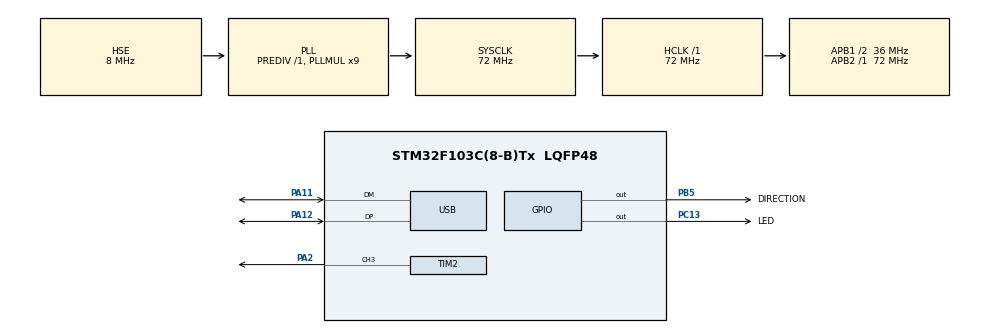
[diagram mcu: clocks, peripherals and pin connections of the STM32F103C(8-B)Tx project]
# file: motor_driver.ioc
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Mcu.Family=STM32F1
Mcu.Name=STM32F103C(8-B)Tx
Mcu.Package=LQFP48
NVIC.PriorityGroup=NVIC_PRIORITYGROUP_4
NVIC.TIM2_IRQn=true\:0\:0\:false\:false\:true\:true\:true\:true
NVIC.USB_LP_CAN1_RX0_IRQn=true\:0\:0\:false\:false\:true\:false\:true\:true
PA11.Mode=Device
PA11.Signal=USB_DM
PA12.Mode=Device
PA12.Signal=USB_DP
PA13.Mode=Serial_Wire
PA13.Signal=SYS_JTMS-SWDIO
PA14.Mode=Serial_Wire
PA14.Signal=SYS_JTCK-SWCLK
PA2.Signal=S_TIM2_CH3
PB5.GPIO_Label=DIRECTION
PB5.Signal=GPIO_Output
PC13-TAMPER-RTC.GPIO_Label=LED
PC13-TAMPER-RTC.Signal=GPIO_Output
PD0-OSC_IN.Mode=HSE-External-Oscillator
PD0-OSC_IN.Signal=RCC_OSC_IN
PD1-OSC_OUT.Mode=HSE-External-Oscillator
PD1-OSC_OUT.Signal=RCC_OSC_OUT
ProjectManager.HeapSize=0x200
ProjectManager.StackSize=0x400
ProjectManager.TargetToolchain=STM32CubeIDE
RCC.AHBFreq_Value=72000000
RCC.APB1CLKDivider=RCC_HCLK_DIV2
RCC.APB1Freq_Value=36000000
RCC.APB1TimFreq_Value=72000000
RCC.APB2Freq_Value=72000000
RCC.APB2TimFreq_Value=72000000
RCC.HCLKFreq_Value=72000000
RCC.PLLMUL=RCC_PLL_MUL9
RCC.SYSCLKFreq_VALUE=72000000
RCC.SYSCLKSource=RCC_SYSCLKSOURCE_PLLCLK
RCC.USBFreq_Value=48000000
RCC.USBPrescaler=RCC_USBCLKSOURCE_PLL_DIV1_5
SH.S_TIM2_CH3.0=TIM2_CH3,PWM Generation3 CH3
TIM2.Channel-PWM\ Generation3\ CH3=TIM_CHANNEL_3
TIM2.Period=360-1
TIM2.Prescaler=72-1
USB_DEVICE.CLASS_NAME_FS=CDC
USB_DEVICE.VirtualMode=Cdc
USB_DEVICE.VirtualModeFS=Cdc_FS
VP_USB_DEVICE_VS_USB_DEVICE_CDC_FS.Mode=CDC_FS
board=custom

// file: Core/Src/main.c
/* USER CODE BEGIN Header */
/**
  ******************************************************************************
  * @file           : main.c
  * @brief          : Main program body
  ******************************************************************************
  * @attention
  *
  * Copyright (c) 2024 STMicroelectronics.
  * All rights reserved.
  *
  * This software is licensed under terms that can be found in the LICENSE file
  * in the root directory of this software component.
  * If no LICENSE file comes with this software, it is provided AS-IS.
  *
  ******************************************************************************
  */
/* USER CODE END Header */
#include "main.h"
#include "usb_device.h"

/* USER CODE BEGIN Includes */
#include "usbd_cdc_if.h"
/* USER CODE END Includes */

TIM_HandleTypeDef htim2;

/* USER CODE BEGIN PV */
uint8_t receivedDataBuf[64];
uint8_t receiveDataFlag = 0;

volatile uint8_t motorStopFlag = 0;

volatile uint16_t speed = 6400;
float timeRotation = 1.0;

volatile float stepsRemaining = 0.0;

volatile uint8_t infiniteRotationFlag = 0;
volatile uint8_t timeRotationFlag = 0;

/* USER CODE END PV */

void SystemClock_Config(void);
static void MX_GPIO_Init(void);
static void MX_TIM2_Init(void);
/* USER CODE BEGIN PFP */
void SendMotorStatus(void)
{
	char status;
	if(motorStopFlag)
	{
		status = 'Y';
	}
	else
	{
		status = 'N';
	}
	CDC_Transmit_FS((uint8_t *)&status, 1);
}

void SetMotorSpeed(void)
{
	uint32_t arr = (SystemCoreClock / (TIM2->PSC + 1)) / speed - 1;

	__HAL_TIM_DISABLE(&htim2);

	// Обновление ARR
	__HAL_TIM_SET_AUTORELOAD(&htim2, arr);

	// Установка скважности PWM на 50%
	__HAL_TIM_SET_COMPARE(&htim2, TIM_CHANNEL_3, arr / 2);

	// Включение таймера после обновления ARR и CCR
	__HAL_TIM_ENABLE(&htim2);
}

void SetTimeRotation(void)
{
	stepsRemaining = timeRotation * speed;
}

void StartMotorInfinite(void)
{
	SetMotorSpeed();
	HAL_TIM_PWM_Start(&htim2, TIM_CHANNEL_3);
	HAL_TIM_Base_Start_IT(&htim2);
}

void StartMotorTimeRotation(void)
{
	SetMotorSpeed();
	SetTimeRotation();
	HAL_TIM_PWM_Start(&htim2, TIM_CHANNEL_3);
	HAL_TIM_Base_Start_IT(&htim2);
}

void StopAndResetMotor(void)
{
    // Остановка PWM и базового таймера
    HAL_TIM_PWM_Stop(&htim2, TIM_CHANNEL_3);
    HAL_TIM_Base_Stop_IT(&htim2);

    __HAL_TIM_DISABLE(&htim2);
    // Сброс счетчика таймера
    __HAL_TIM_SET_COUNTER(&htim2, 0);

    __HAL_TIM_ENABLE(&htim2);

    stepsRemaining = 0.0;
    SendMotorStatus();
    HAL_GPIO_TogglePin(LED_GPIO_Port, LED_Pin);
}

void ProcessVCPCommand(void)
{
    switch (receivedDataBuf[0])
    {
        case 'I':  // Бесконечное вращение
            infiniteRotationFlag = 1;
            StartMotorInfinite();
            break;

        case 'R':  // Вращение по времени
            timeRotationFlag = 1;
            StartMotorTimeRotation();
            break;

        case 'S': // Скорость<значение> S6400
            speed = 0;
            for (int i = 1; i < sizeof(receivedDataBuf) && receivedDataBuf[i] != '\0'; i++)
            {
                speed = speed * 10 + (receivedDataBuf[i] - '0');
            }
            SetMotorSpeed();
            break;

        case 'P':  // Остановка мотора
            motorStopFlag = 1;
            break;

        case 'T':  // Время вращения в секундах T10
            timeRotation = 0.0;
            for (int i = 1; i < sizeof(receivedDataBuf) && receivedDataBuf[i] != '\0'; i++)
            	{
            		timeRotation = timeRotation * 10 + (receivedDataBuf[i] - '0');
                }
            break;

        case 'D': // Смена направления вращения
            HAL_GPIO_TogglePin(DIRECTION_GPIO_Port, DIRECTION_Pin);
            break;

        default:
            break;
    }
}
/* USER CODE END PFP */

int main(void)
{

  /* MCU Configuration--------------------------------------------------------*/

  /* Reset of all peripherals, Initializes the Flash interface and the Systick. */
  HAL_Init();

  /* Configure the system clock */
  SystemClock_Config();

  /* Initialize all configured peripherals */
  MX_GPIO_Init();
  MX_TIM2_Init();
  MX_USB_DEVICE_Init();

  /* Infinite loop */
  /* USER CODE BEGIN WHILE */
  while (1)
  {
	  if (receiveDataFlag)
	  {
		  HAL_GPIO_TogglePin(LED_GPIO_Port, LED_Pin);
		  receiveDataFlag = 0;
		  ProcessVCPCommand();
	  }

	  if (motorStopFlag)
	  {
		  StopAndResetMotor();
		  motorStopFlag = 0;
	  }
    /* USER CODE END WHILE */

  }
}

void SystemClock_Config(void)
{
  RCC_OscInitTypeDef RCC_OscInitStruct = {0};
  RCC_ClkInitTypeDef RCC_ClkInitStruct = {0};
  RCC_PeriphCLKInitTypeDef PeriphClkInit = {0};

  /** Initializes the RCC Oscillators according to the specified parameters
  * in the RCC_OscInitTypeDef structure.
  */
  RCC_OscInitStruct.OscillatorType = RCC_OSCILLATORTYPE_HSE;
  RCC_OscInitStruct.HSEState = RCC_HSE_ON;
  RCC_OscInitStruct.HSEPredivValue = RCC_HSE_PREDIV_DIV1;
  RCC_OscInitStruct.HSIState = RCC_HSI_ON;
  RCC_OscInitStruct.PLL.PLLState = RCC_PLL_ON;
  RCC_OscInitStruct.PLL.PLLSource = RCC_PLLSOURCE_HSE;
  RCC_OscInitStruct.PLL.PLLMUL = RCC_PLL_MUL9;
  if (HAL_RCC_OscConfig(&RCC_OscInitStruct) != HAL_OK)
  {
    Error_Handler();
  }

  /** Initializes the CPU, AHB and APB buses clocks
  */
  RCC_ClkInitStruct.ClockType = RCC_CLOCKTYPE_HCLK|RCC_CLOCKTYPE_SYSCLK
                              |RCC_CLOCKTYPE_PCLK1|RCC_CLOCKTYPE_PCLK2;
  RCC_ClkInitStruct.SYSCLKSource = RCC_SYSCLKSOURCE_PLLCLK;
  RCC_ClkInitStruct.AHBCLKDivider = RCC_SYSCLK_DIV1;
  RCC_ClkInitStruct.APB1CLKDivider = RCC_HCLK_DIV2;
  RCC_ClkInitStruct.APB2CLKDivider = RCC_HCLK_DIV1;

  if (HAL_RCC_ClockConfig(&RCC_ClkInitStruct, FLASH_LATENCY_2) != HAL_OK)
  {
    Error_Handler();
  }
  PeriphClkInit.PeriphClockSelection = RCC_PERIPHCLK_USB;
  PeriphClkInit.UsbClockSelection = RCC_USBCLKSOURCE_PLL_DIV1_5;
  if (HAL_RCCEx_PeriphCLKConfig(&PeriphClkInit) != HAL_OK)
  {
    Error_Handler();
  }
}

static void MX_TIM2_Init(void)
{

  TIM_MasterConfigTypeDef sMasterConfig = {0};
  TIM_OC_InitTypeDef sConfigOC = {0};

  htim2.Instance = TIM2;
  htim2.Init.Prescaler = 72-1;
  htim2.Init.CounterMode = TIM_COUNTERMODE_UP;
  htim2.Init.Period = 360-1;
  htim2.Init.ClockDivision = TIM_CLOCKDIVISION_DIV1;
  htim2.Init.AutoReloadPreload = TIM_AUTORELOAD_PRELOAD_DISABLE;
  if (HAL_TIM_PWM_Init(&htim2) != HAL_OK)
  {
    Error_Handler();
  }
  sMasterConfig.MasterOutputTrigger = TIM_TRGO_RESET;
  sMasterConfig.MasterSlaveMode = TIM_MASTERSLAVEMODE_DISABLE;
  if (HAL_TIMEx_MasterConfigSynchronization(&htim2, &sMasterConfig) != HAL_OK)
  {
    Error_Handler();
  }
  sConfigOC.OCMode = TIM_OCMODE_PWM1;
  sConfigOC.Pulse = 0;
  sConfigOC.OCPolarity = TIM_OCPOLARITY_HIGH;
  sConfigOC.OCFastMode = TIM_OCFAST_DISABLE;
  if (HAL_TIM_PWM_ConfigChannel(&htim2, &sConfigOC, TIM_CHANNEL_3) != HAL_OK)
  {
    Error_Handler();
  }
  HAL_TIM_MspPostInit(&htim2);

}

static void MX_GPIO_Init(void)
{
  GPIO_InitTypeDef GPIO_InitStruct = {0};

  /* GPIO Ports Clock Enable */
  __HAL_RCC_GPIOC_CLK_ENABLE();
  __HAL_RCC_GPIOD_CLK_ENABLE();
  __HAL_RCC_GPIOA_CLK_ENABLE();
  __HAL_RCC_GPIOB_CLK_ENABLE();

  /*Configure GPIO pin Output Level */
  HAL_GPIO_WritePin(LED_GPIO_Port, LED_Pin, GPIO_PIN_RESET);

  /*Configure GPIO pin Output Level */
  HAL_GPIO_WritePin(DIRECTION_GPIO_Port, DIRECTION_Pin, GPIO_PIN_RESET);

  /*Configure GPIO pin : LED_Pin */
  GPIO_InitStruct.Pin = LED_Pin;
  GPIO_InitStruct.Mode = GPIO_MODE_OUTPUT_PP;
  GPIO_InitStruct.Pull = GPIO_NOPULL;
  GPIO_InitStruct.Speed = GPIO_SPEED_FREQ_LOW;
  HAL_GPIO_Init(LED_GPIO_Port, &GPIO_InitStruct);

  /*Configure GPIO pin : DIRECTION_Pin */
  GPIO_InitStruct.Pin = DIRECTION_Pin;
  GPIO_InitStruct.Mode = GPIO_MODE_OUTPUT_PP;
  GPIO_InitStruct.Pull = GPIO_NOPULL;
  GPIO_InitStruct.Speed = GPIO_SPEED_FREQ_LOW;
  HAL_GPIO_Init(DIRECTION_GPIO_Port, &GPIO_InitStruct);

}

/* USER CODE BEGIN 4 */
void HAL_TIM_PeriodElapsedCallback(TIM_HandleTypeDef *htim)
{
    if (htim->Instance == TIM2)
    {
        if (stepsRemaining > 0)
        {
        	stepsRemaining--;
        }
        else if (stepsRemaining <= 0.0 && !infiniteRotationFlag && timeRotationFlag)
        {
            // Остановка таймера и PWM после завершения заданного количества шагов
       	    motorStopFlag = 1;
            HAL_GPIO_TogglePin(LED_GPIO_Port, LED_Pin);
        }
    }
}
/* USER CODE END 4 */

void Error_Handler(void)
{
  __disable_irq();
  while (1)
  {
  }
}
